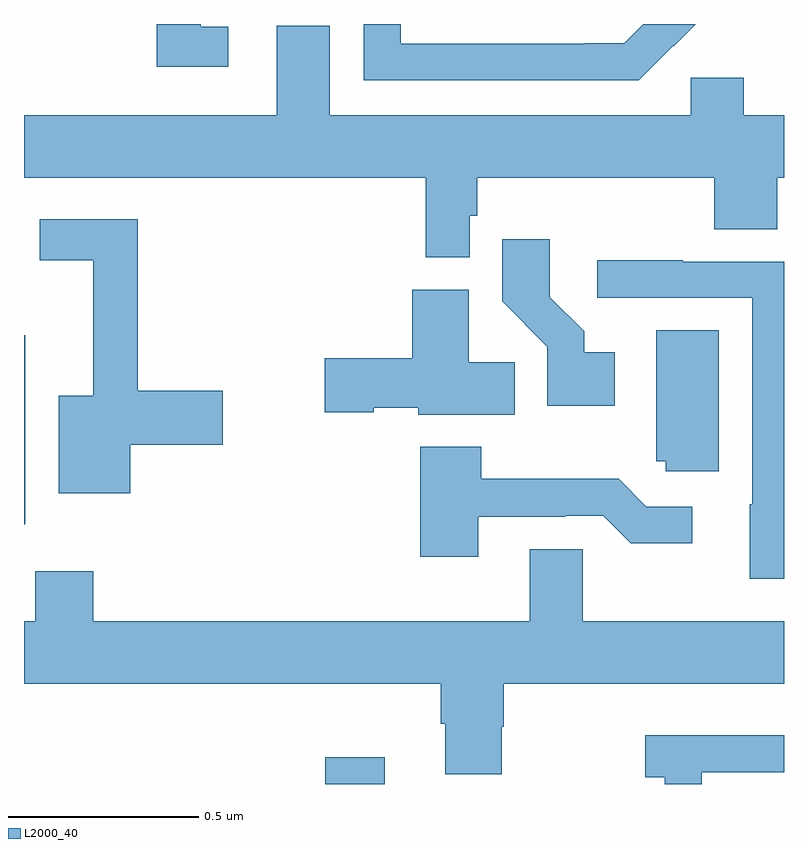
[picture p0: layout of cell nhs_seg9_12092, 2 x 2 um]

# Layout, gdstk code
import gdstk
lib = gdstk.Library(unit=1e-6, precision=1e-09)
def R(c, l, rs):  # rectangles x0, y0, x1, y1
    for r in rs: c.add(gdstk.rectangle(r[:2], r[2:], *l))
def P(c, l, *ps):  # polygons
    for p in ps: c.add(gdstk.Polygon(p, *l))
L2000_40 = (2000, 40)

nhs_seg9_12092 = lib.new_cell('nhs_seg9_12092')
R(nhs_seg9_12092, L2000_40, [(264.793,1185.5,264.949,1185.571)])
P(nhs_seg9_12092, L2000_40, [(265.709,1187.443),(265.71,1187.442),(265.768,1187.5),(265.63,1187.5),(265.579,1187.449),(265.475,1187.449),(265.475,1187.448),(264.991,1187.448),(264.991,1187.5),(264.894,1187.5),(264.894,1187.352),(265.618,1187.352)],
  [(264.538,1187.493),(264.465,1187.493),(264.465,1187.5),(264.349,1187.5),(264.349,1187.388),(264.538,1187.388)],
  [(265.173,1186.995),(265.193,1186.995),(265.193,1187.096),(265.817,1187.096),(265.817,1186.96),(265.982,1186.96),(265.982,1187.096),(266,1187.096),(266,1187.26),(265.894,1187.26),(265.894,1187.358),(265.755,1187.358),(265.755,1187.26),(264.805,1187.26),(264.805,1187.496),(264.665,1187.496),(264.665,1187.26),(264,1187.26),(264,1187.096),(265.057,1187.096),(265.057,1186.886),(265.173,1186.886)],
  [(264.28,1186.393),(264.523,1186.393),(264.523,1186.535),(264.299,1186.535),(264.299,1186.986),(264.042,1186.986),(264.042,1186.878),(264.182,1186.878),(264.182,1186.522),(264.092,1186.522),(264.092,1186.265),(264.28,1186.265)],
  [(265.555,1186.636),(265.474,1186.636),(265.474,1186.691),(265.384,1186.781),(265.384,1186.933),(265.258,1186.933),(265.258,1186.77),(265.377,1186.651),(265.377,1186.496),(265.555,1186.496)],
  [(266,1186.875),(265.733,1186.875),(265.733,1186.878),(265.509,1186.878),(265.509,1186.779),(265.917,1186.779),(265.917,1186.236),(265.91,1186.236),(265.91,1186.04),(266,1186.04)],
  [(265.292,1186.61),(265.171,1186.61),(265.171,1186.801),(265.022,1186.801),(265.022,1186.62),(264.792,1186.62),(264.792,1186.478),(264.921,1186.478),(264.921,1186.49),(265.038,1186.49),(265.038,1186.472),(265.292,1186.472)],
  [(265.828,1186.694),(265.664,1186.694),(265.664,1186.35),(265.689,1186.35),(265.689,1186.323),(265.828,1186.323)],
  [(264.003,1186.185),(264.003,1186.681),(264,1186.681),(264,1186.182)],
  [(265.195,1186.203),(265.424,1186.203),(265.424,1186.206),(265.524,1186.206),(265.597,1186.133),(265.759,1186.133),(265.759,1186.23),(265.638,1186.23),(265.565,1186.303),(265.203,1186.303),(265.203,1186.387),(265.043,1186.387),(265.043,1186.098),(265.195,1186.098)],
  [(265.257,1185.651),(265.262,1185.651),(265.262,1185.764),(266,1185.764),(266,1185.928),(265.47,1185.928),(265.47,1186.118),(265.331,1186.118),(265.331,1185.928),(264.182,1185.928),(264.182,1186.06),(264.03,1186.06),(264.03,1185.928),(264,1185.928),(264,1185.764),(265.097,1185.764),(265.097,1185.658),(265.109,1185.658),(265.109,1185.526),(265.257,1185.526)],
  [(265.783,1185.531),(266,1185.531),(266,1185.628),(265.635,1185.628),(265.635,1185.518),(265.686,1185.518),(265.686,1185.5),(265.783,1185.5)])

lib.write_gds('nhs_seg9_12092.gds')
